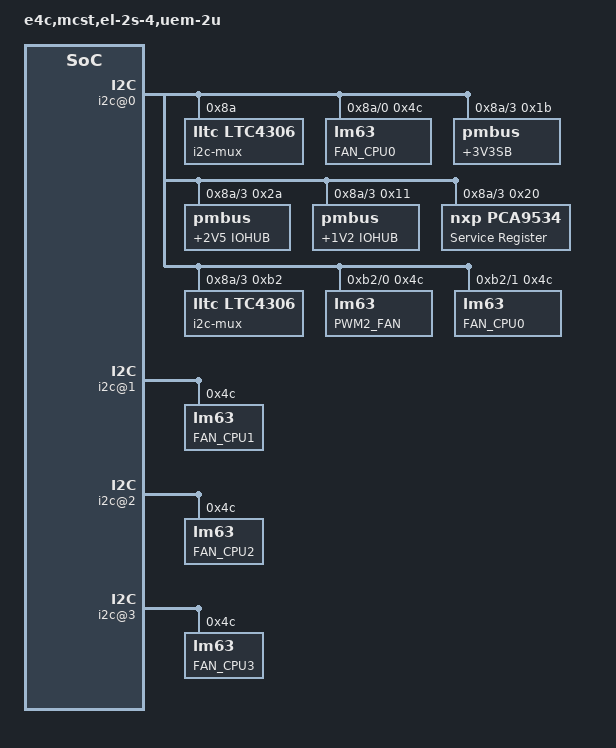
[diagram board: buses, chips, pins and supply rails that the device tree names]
/*
 * EL-2S-4
 * LYUI.469555.052
 * (Footballer / UEM-2U)
 */
/dts-v1/;

/ {
	/* version = ""; */
	model = "e4c,mcst,el-2s-4,uem-2u";
	compatible = "mcst,el-2s-4";
	#address-cells = <1>;
	#size-cells = <0>;

	/* IOHUB I2C */
	l_i2c@0 {
		#address-cells = <1>;
		#size-cells = <0>;
		reg = <0>;
		compatible = "l_i2c";
		label = "iohub i2c";

		i2c@0 {
			/* I2C_*0 */
			#address-cells = <1>;
			#size-cells = <0>;
			reg = <0>;

			i2c-mux@8A {
				/* i2c/muxes/i2c-mux-ltc4306.ko (DD48:LTC4306IUFD) */
				#address-cells = <1>;
				#size-cells = <0>;
				compatible = "lltc,ltc4306";
				reg = <0x8A>; /* LHH */
				/* i2c-mux-idle-disconnect; */
				i2c@0 {
					/* I2C_*0_0 */
					#address-cells = <1>;
					#size-cells = <0>;
					reg = <0>;

					/* CPU0 */
					lm96163@4c {
						/* hwmon/lm63.ko (0_DD2:LM96163CISD) */
						compatible = "lm63";
						reg = <0x4c>;
						label = "FAN_CPU0";
						/* trivial-devices */

						temp1_label = "Internal diode";
						temp2_label = "CPU0_TERM";
					};
					/* 0xA0 (0_X1:DIMM) */
					/* 0xA2 (0_X2:DIMM) */
					/* 0xA3 (0_X3:DIMM) */
					/* (0_X4:Power) */
				};
				i2c@1 {
					/* I2C_*0_1 */
					#address-cells = <1>;
					#size-cells = <0>;
					reg = <1>;

					/* X35:PCIe */
				};
				i2c@2 {
					/* I2C_*0_2 */
					#address-cells = <1>;
					#size-cells = <0>;
					reg = <2>;

					/* X36:PCIe */
				};
				i2c@3 {
					/* I2C_*0_3 */
					#address-cells = <1>;
					#size-cells = <0>;
					reg = <3>;

					/* ???.ko (DD1:MAX3674ECM+)
					 * 0xB4? - 500MHz CPU IOHUB1,2
					 */
					/* ???.ko (DD2:MAX3674ECM+)
					 * 0xB6? - 500MHz IOL IOHUB1,2
					 */
					pdt003@1B {
						/* hwmon/pmbus/pmbus.ko (DA7:PDT003A0X3-SRZ) */
						compatible = "pmbus";
						reg = <0x1B>; /* 033 */
						label = "+3V3SB";
					};
					pdt012@2A {
						/* hwmon/pmbus/pmbus.ko (DA1:PDT012A0X3-SRZ) */
						compatible = "pmbus";
						reg = <0x2A>; /* 052 */
						label = "+2V5 IOHUB";
					};
					pdt012@11 {
						/* hwmon/pmbus/pmbus.ko (DA2:PDT012A0X3-SRZ) */
						compatible = "pmbus";
						reg = <0x11>; /* 021 */
						label = "+1V2 IOHUB";
					};
					service_gpio:pca9534@20 {
						/* gpio/gpio-pca953x.ko (DD27:PCA9534PW) */
						compatible = "nxp,pca9534";
						reg = <0x20>; /* 0100 000 */
						label = "Service Register";
						gpio-controller;
						ngpios = <8>;
						#gpio-cells = <2>;
						gpio-line-names =
							"ModSel0",
							"ModSel1",
							"KCBB_SERVICE3",
							"KCBB_SERVICE4",
							"KCBB_CONF_DONE",
							"KCBB_PWR_OK",
							"SPEAKER",
							"I2C_RESET#";
					};
					i2c-mux@B2 {
						/* i2c/muxes/i2c-mux-ltc4306.ko (DD3:LTC4306IUFD) */
						#address-cells = <1>;
						#size-cells = <0>;
						compatible = "lltc,ltc4306";
						reg = <0xB2>; /* LHL */
						/* i2c-mux-idle-disconnect; */
						i2c@0 {
							/* I2C00 */
							#address-cells = <1>;
							#size-cells = <0>;
							reg = <0>;

							lm96163@4c {
								/* hwmon/lm63.ko (DD25:LM96163CISD) */
								compatible = "lm63";
								reg = <0x4c>;
								label = "PWM2_FAN";
								/* trivial-devices */

								temp1_label = "Internal diode";
								temp2_label = "not connected";
							};
						};
						i2c@1 {
							/* I2C10 */
							#address-cells = <1>;
							#size-cells = <0>;
							reg = <1>;

							lm96163@4c {
								/* hwmon/lm63.ko (DD23:LM96163CISD) */
								compatible = "lm63";
								reg = <0x4c>;
								label = "FAN_CPU0";
								/* trivial-devices */

								temp1_label = "Internal diode";
								temp2_label = "not connected";
							};
						};
						i2c@2 {
							#address-cells = <1>;
							#size-cells = <0>;
							reg = <2>;

							/* empty */
						};
						i2c@3 {
							#address-cells = <1>;
							#size-cells = <0>;
							reg = <3>;

							/* empty */
						};
					};
					/* X23:KCBB
					 *  - 0xA0 - Trans
					 *  - 0x12, 0x1A, 0x2A - Power
					 */
				};
			};
		};
		i2c@1 {
			/* I2C_*1 */
			#address-cells = <1>;
			#size-cells = <0>;
			reg = <1>;

			/* CPU1 */
			lm96163@4c {
				/* hwmon/lm63.ko (1_DD2:LM96163CISD) */
				compatible = "lm63";
				reg = <0x4c>;
				label = "FAN_CPU1";
				/* trivial-devices */

				temp1_label = "Internal diode";
				temp2_label = "CPU1_TERM";
			};
			/* 0xA0 (1_X1:DIMM) */
			/* 0xA2 (1_X2:DIMM) */
			/* 0xA3 (1_X3:DIMM) */
			/* (1_X4:Power) */
		};
		i2c@2 {
			/* I2C_*2 */
			#address-cells = <1>;
			#size-cells = <0>;
			reg = <2>;

			/* CPU2 */
			lm96163@4c {
				/* hwmon/lm63.ko (2_DD2:LM96163CISD) */
				compatible = "lm63";
				reg = <0x4c>;
				label = "FAN_CPU2";
				/* trivial-devices */

				temp1_label = "Internal diode";
				temp2_label = "CPU2_TERM";
			};
			/* 0xA0 (2_X1:DIMM) */
			/* 0xA2 (2_X2:DIMM) */
			/* 0xA3 (2_X3:DIMM) */
			/* (2_X4:Power) */
		};
		i2c@3 {
			/* I2C_*3 */
			#address-cells = <1>;
			#size-cells = <0>;
			reg = <3>;

			/* CPU3 */
			lm96163@4c {
				/* hwmon/lm63.ko (3_DD2:LM96163CISD) */
				compatible = "lm63";
				reg = <0x4c>;
				label = "FAN_CPU3";
				/* trivial-devices */

				temp1_label = "Internal diode";
				temp2_label = "CPU3_TERM";
			};
			/* 0xA0 (3_X1:DIMM) */
			/* 0xA2 (3_X2:DIMM) */
			/* 0xA3 (3_X3:DIMM) */
			/* (3_X4:Power) */
		};
	};

	/* IOHUB SPI */
	l_spi@0 {
		#address-cells = <1>;
		#size-cells = <0>;
		compatible = "l_spi";
		reg = <0>;
		label = "iohub spi";

		boot@0 {
			compatible = "mcst,boot";
			reg = <0>;
			spi-max-frequency = <25000000>;
		};
		rtc-cy14b101p@1 {
			compatible = "rtc-cy14b101p";
			reg = <1>;
			spi-max-frequency = <12500000>;
		};
	};
};
